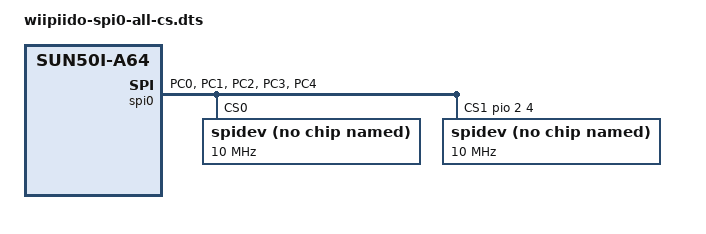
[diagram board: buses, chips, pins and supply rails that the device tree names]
/dts-v1/;
/plugin/;

/ {
	compatible = "allwinner,sun50i-a64";
	
	fragment@0 {
		target = < &pio >;

		__overlay__ {
			spi0_pins: spi0 {
				pins = "PC0", "PC1", "PC2", "PC3", "PC4";
				function = "spi0";
			};
		};
	};

	fragment@1 {
		target = < &spi0 >;

		__overlay__ {
			#address-cells = < 0x01 >;
			#size-cells = < 0x00 >;
			status = "okay";
			num-cs = <2>;
			pinctrl-names = "default", "default";
			pinctrl-0 = <&spi0_pins>;
			cs-gpios = <0>, <&pio 2 4 0>;
			
			spidev@0 {
				compatible = "spidev";
				reg = <0>; 
				spi-max-frequency = <10000000>;
			};

			spidev@1 {
				compatible = "spidev";
				reg = <1>;
				spi-max-frequency = <10000000>;
			};
			
		};
	};
};
